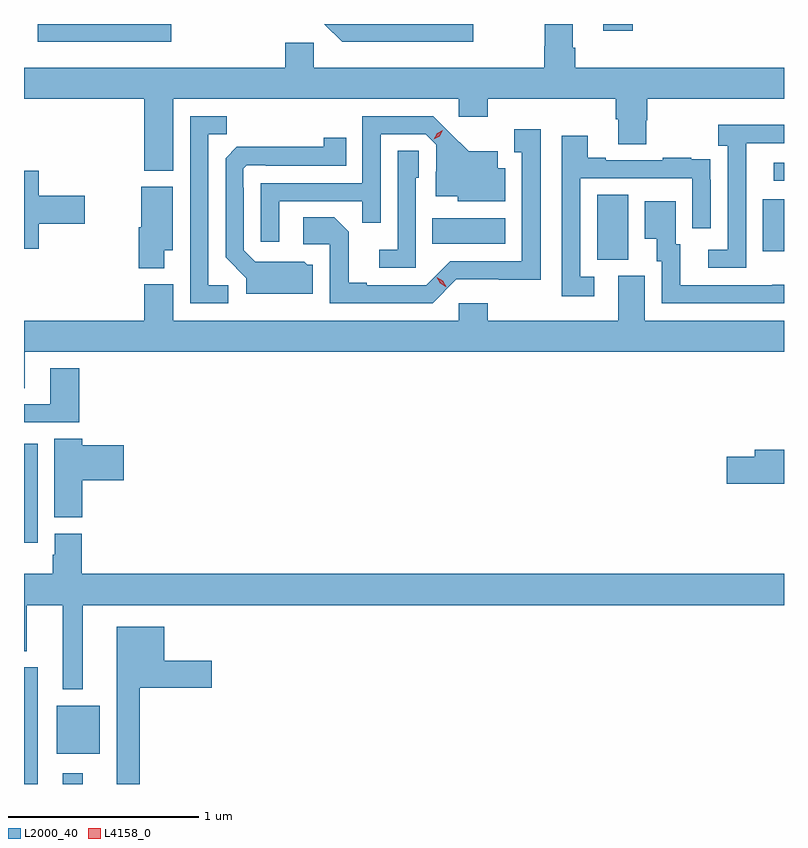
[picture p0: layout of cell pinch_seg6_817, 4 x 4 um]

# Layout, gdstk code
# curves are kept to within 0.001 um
import gdstk
lib = gdstk.Library(unit=1e-6, precision=1e-09)
def R(c, l, rs):  # rectangles x0, y0, x1, y1
    for r in rs: c.add(gdstk.rectangle(r[:2], r[2:], *l))
def P(c, l, *ps):  # polygons
    for p in ps: c.add(gdstk.Polygon(p, *l))
L2000_40 = (2000, 40)
L4158_0 = (4158, 0)

pinch_seg6_817 = lib.new_cell('pinch_seg6_817')
R(pinch_seg6_817, L2000_40, [(158.308,977.03,158.38,977.644), (158.513,977.03,158.617,977.086), (158.48,977.189,158.707,977.443), (158.308,978.3,158.38,978.82), (161.324,979.789,161.488,980.132), (162.197,979.833,162.308,980.107), (160.456,979.874,160.84,980.008), (162.255,980.205,162.308,980.301), (158.381,980.936,159.082,981.03), (161.357,980.994,161.513,981.03)])
P(pinch_seg6_817, L2000_40, [(160.672,981.03),(159.888,981.03),(159.982,980.936),(160.672,980.936)],
  [(159.094,980.636),(160.596,980.636),(160.596,980.541),(160.748,980.541),(160.748,980.636),(161.423,980.636),(161.423,980.53),(161.435,980.53),(161.435,980.398),(161.583,980.398),(161.583,980.523),(161.588,980.523),(161.588,980.636),(162.308,980.636),(162.308,980.8),(161.21,980.8),(161.21,980.906),(161.197,980.906),(161.197,981.03),(161.05,981.03),(161.05,980.913),(161.045,980.913),(161.045,980.8),(159.834,980.8),(159.834,980.932),(159.683,980.932),(159.683,980.8),(158.308,980.8),(158.308,980.636),(158.942,980.636),(158.942,980.258),(159.094,980.258)],
  [(159.382,979.656),(159.279,979.656),(159.279,980.449),(159.375,980.449),(159.375,980.544),(159.183,980.544),(159.183,979.56),(159.382,979.56)],
  [(159.651,980.097),(160.087,980.097),(160.087,979.984),(160.185,979.984),(160.185,980.451),(160.422,980.451),(160.479,980.394),(160.479,980.252),(160.475,980.252),(160.475,980.123),(160.59,980.123),(160.59,980.096),(160.84,980.096),(160.84,980.272),(160.801,980.272),(160.801,980.359),(160.649,980.359),(160.462,980.544),(160.089,980.544),(160.089,980.193),(159.555,980.193),(159.555,979.884),(159.651,979.884)],
  [(162.108,980.203),(162.109,980.203),(162.109,980.403),(162.308,980.403),(162.308,980.5),(161.961,980.5),(161.961,980.39),(162.012,980.39),(162.012,979.842),(161.91,979.842),(161.91,979.746),(162.108,979.746)],
  [(160.584,979.686),(161.029,979.685),(161.029,980.476),(160.889,980.476),(160.889,980.355),(160.928,980.355),(160.928,979.782),(160.551,979.782),(160.425,979.656),(160.111,979.656),(160.111,979.669),(160.017,979.669),(160.017,979.936),(159.941,980.012),(159.777,980.012),(159.777,979.872),(159.918,979.872),(159.918,979.56),(160.458,979.56)],
  [(161.308,979.701),(161.235,979.701),(161.235,980.217),(161.826,980.217),(161.826,979.956),(161.922,979.956),(161.922,980.21),(161.921,980.21),(161.921,980.319),(161.819,980.319),(161.819,980.326),(161.671,980.326),(161.671,980.313),(161.371,980.313),(161.371,980.326),(161.275,980.326),(161.275,980.443),(161.139,980.443),(161.139,979.596),(161.308,979.596)],
  [(159.829,979.764),(159.798,979.764),(159.782,979.78),(159.525,979.779),(159.465,979.839),(159.465,980.168),(159.462,980.168),(159.462,980.268),(159.48,980.286),(159.58,980.286),(159.58,980.283),(160.004,980.283),(160.004,980.431),(159.886,980.431),(159.886,980.384),(159.428,980.383),(159.369,980.324),(159.369,979.802),(159.479,979.692),(159.479,979.61),(159.829,979.61)],
  [(160.371,980.22),(160.386,980.22),(160.386,980.363),(160.275,980.363),(160.275,979.843),(160.179,979.843),(160.179,979.746),(160.371,979.746)],
  [(158.386,979.979),(158.629,979.979),(158.629,980.126),(158.386,980.126),(158.386,980.257),(158.308,980.257),(158.308,979.847),(158.386,979.847)],
  [(159.046,979.838),(159.091,979.838),(159.091,980.173),(158.924,980.173),(158.924,979.959),(158.912,979.959),(158.912,979.745),(159.046,979.745)],
  [(162.308,979.657),(162.245,979.657),(162.245,979.656),(161.761,979.656),(161.761,979.872),(161.737,979.872),(161.737,980.098),(161.576,980.098),(161.576,979.901),(161.639,979.901),(161.639,979.782),(161.664,979.782),(161.664,979.56),(162.308,979.56)],
  [(158.311,979.304),(162.308,979.304),(162.308,979.468),(161.575,979.468),(161.575,979.704),(161.435,979.704),(161.435,979.468),(160.748,979.468),(160.748,979.561),(160.596,979.561),(160.596,979.468),(159.094,979.468),(159.094,979.66),(158.942,979.66),(158.942,979.468),(158.308,979.468),(158.308,979.114),(158.311,979.114)],
  [(158.6,979.219),(158.447,979.219),(158.447,979.029),(158.308,979.029),(158.308,978.933),(158.6,978.933)],
  [(158.615,978.629),(158.833,978.629),(158.833,978.812),(158.615,978.812),(158.615,978.848),(158.468,978.848),(158.468,978.433),(158.615,978.433)],
  [(162.308,978.788),(162.155,978.788),(162.155,978.752),(162.006,978.752),(162.006,978.61),(162.308,978.61)],
  [(158.617,977.972),(162.308,977.972),(162.308,978.136),(158.612,978.136),(158.612,978.348),(158.471,978.348),(158.471,978.237),(158.459,978.237),(158.459,978.136),(158.308,978.136),(158.308,977.729),(158.323,977.729),(158.323,977.972),(158.513,977.972),(158.513,977.528),(158.617,977.528)],
  [(158.917,977.537),(159.295,977.537),(159.295,977.679),(159.046,977.679),(159.046,977.857),(158.795,977.857),(158.795,977.03),(158.917,977.03)])
P(pinch_seg6_817, L4158_0, [(160.529,979.646),(160.498,979.665),(160.48,979.698),(160.48,979.698),(160.48,979.698),(160.512,979.679),(160.53,979.646),(160.53,979.646)],
  [(160.464,980.424),(160.464,980.424),(160.482,980.454),(160.513,980.47),(160.513,980.47),(160.513,980.47),(160.496,980.44),(160.464,980.424)])

lib.write_gds('pinch_seg6_817.gds')
